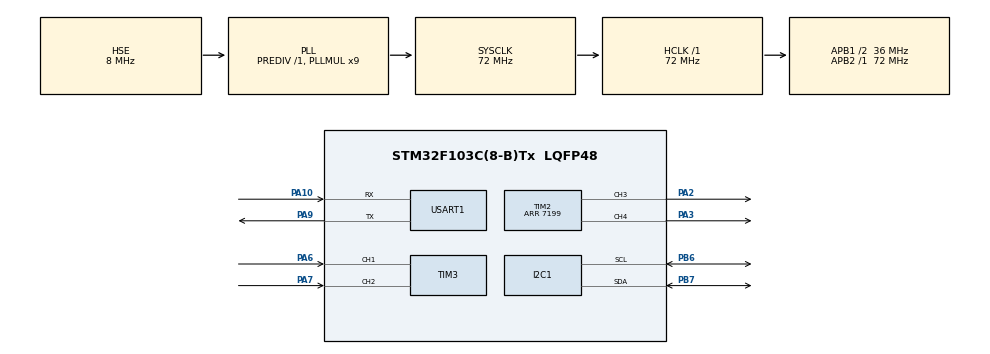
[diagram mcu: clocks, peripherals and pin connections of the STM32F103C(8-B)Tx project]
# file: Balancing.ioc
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Mcu.Family=STM32F1
Mcu.Name=STM32F103C(8-B)Tx
Mcu.Package=LQFP48
NVIC.PriorityGroup=NVIC_PRIORITYGROUP_4
PA10.Mode=Asynchronous
PA10.Signal=USART1_RX
PA13.Mode=Serial_Wire
PA13.Signal=SYS_JTMS-SWDIO
PA14.Mode=Serial_Wire
PA14.Signal=SYS_JTCK-SWCLK
PA2.Signal=S_TIM2_CH3
PA3.Signal=S_TIM2_CH4
PA6.Signal=S_TIM3_CH1
PA7.Signal=S_TIM3_CH2
PA9.Mode=Asynchronous
PA9.Signal=USART1_TX
PB6.Mode=I2C
PB6.Signal=I2C1_SCL
PB7.Mode=I2C
PB7.Signal=I2C1_SDA
PD0-OSC_IN.Mode=HSE-External-Oscillator
PD0-OSC_IN.Signal=RCC_OSC_IN
PD1-OSC_OUT.Mode=HSE-External-Oscillator
PD1-OSC_OUT.Signal=RCC_OSC_OUT
ProjectManager.HeapSize=0x200
ProjectManager.StackSize=0x400
ProjectManager.TargetToolchain=STM32CubeIDE
RCC.AHBFreq_Value=72000000
RCC.APB1CLKDivider=RCC_HCLK_DIV2
RCC.APB1Freq_Value=36000000
RCC.APB1TimFreq_Value=72000000
RCC.APB2Freq_Value=72000000
RCC.APB2TimFreq_Value=72000000
RCC.HCLKFreq_Value=72000000
RCC.PLLMUL=RCC_PLL_MUL9
RCC.PLLSourceVirtual=RCC_PLLSOURCE_HSE
RCC.SYSCLKFreq_VALUE=72000000
RCC.SYSCLKSource=RCC_SYSCLKSOURCE_PLLCLK
RCC.USBFreq_Value=72000000
SH.S_TIM2_CH3.0=TIM2_CH3,PWM Generation3 CH3
SH.S_TIM2_CH4.0=TIM2_CH4,PWM Generation4 CH4
SH.S_TIM3_CH1.0=TIM3_CH1,Encoder_Interface
SH.S_TIM3_CH2.0=TIM3_CH2,Encoder_Interface
TIM2.Channel-PWM\ Generation3\ CH3=TIM_CHANNEL_3
TIM2.Channel-PWM\ Generation4\ CH4=TIM_CHANNEL_4
TIM2.OCFastMode_PWM-PWM\ Generation3\ CH3=TIM_OCFAST_ENABLE
TIM2.OCFastMode_PWM-PWM\ Generation4\ CH4=TIM_OCFAST_ENABLE
TIM2.Period=7199
TIM2.Pulse-PWM\ Generation3\ CH3=6000
USART1.VirtualMode=VM_ASYNC
board=custom

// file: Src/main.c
/* USER CODE BEGIN Header */
/**
  ******************************************************************************
  * @file           : main.c
  * @brief          : Main program body
  ******************************************************************************
  * @attention
  *
  * <h2><center>&copy; Copyright (c) 2019 STMicroelectronics.
  * All rights reserved.</center></h2>
  *
  * This software component is licensed by ST under BSD 3-Clause license,
  * the "License"; You may not use this file except in compliance with the
  * License. You may obtain a copy of the License at:
  *                        opensource.org/licenses/BSD-3-Clause
  *
  ******************************************************************************
  */
/* USER CODE END Header */

#include "main.h"

I2C_HandleTypeDef hi2c1;

TIM_HandleTypeDef htim2;
TIM_HandleTypeDef htim3;

UART_HandleTypeDef huart1;

void SystemClock_Config(void);
static void MX_GPIO_Init(void);
static void MX_TIM2_Init(void);
static void MX_TIM3_Init(void);
static void MX_USART1_UART_Init(void);
static void MX_I2C1_Init(void);

/* USER CODE BEGIN 0 */

	int i = 0;
	void PWM_Control(float duty){
		int pwm = 0;
		if(duty > 0){
		  pwm = 4500 +(int) duty*2700;
		  HAL_GPIO_WritePin(GPIOB,GPIO_PIN_11,GPIO_PIN_SET);
		  HAL_GPIO_WritePin(GPIOB,GPIO_PIN_10,GPIO_PIN_RESET);

//		  HAL_GPIO_WritePin(GPIOB,GPIO_PIN_1,GPIO_PIN_SET);
//		  HAL_GPIO_WritePin(GPIOB,GPIO_PIN_0,GPIO_PIN_RESET);
		  __HAL_TIM_SET_COMPARE(&htim2, TIM_CHANNEL_3, pwm);
		}
		else{
			duty = -duty;
			pwm = 4500 +(int) duty*2700;
			HAL_GPIO_WritePin(GPIOB,GPIO_PIN_11,GPIO_PIN_RESET);
			HAL_GPIO_WritePin(GPIOB,GPIO_PIN_10,GPIO_PIN_SET);
		}
	}
/* USER CODE END 0 */

int main(void)
{

  /* MCU Configuration--------------------------------------------------------*/

  /* Reset of all peripherals, Initializes the Flash interface and the Systick. */
  HAL_Init();

  /* Configure the system clock */
  SystemClock_Config();

  /* Initialize all configured peripherals */
  MX_GPIO_Init();
  MX_TIM2_Init();
  MX_TIM3_Init();
  MX_USART1_UART_Init();
  MX_I2C1_Init();

  /* Infinite loop */
  /* USER CODE BEGIN WHILE */
  HAL_TIM_PWM_Start(&htim2,TIM_CHANNEL_3);
  HAL_TIM_PWM_Start(&htim2,TIM_CHANNEL_4);
  //HAL_TIM_Base_Start_IT(&htim1);
  //HAL_TIM_Encoder_Start(&htim3,TIM_CHANNEL_1);
  //HAL_TIM_Encoder_Start(&htim3,TIM_CHANNEL_2);
 init_MPU();
  while (1)
  {
    /* USER CODE END WHILE */

    /* USER CODE BEGIN 3 */

	  //process_MPU();
	  __HAL_TIM_SET_COMPARE(&htim2, TIM_CHANNEL_4, 6000);
	  HAL_Delay(1000);
	  //i = TIM3 -> CNT;
	  	   printf("encoder value: %d",i);
	  PWM_Control(-0.5);
	  HAL_Delay(1000);
	  PWM_Control(0.3);

	  HAL_Delay(1000);

//	  HAL_GPIO_WritePin(GPIOB,GPIO_PIN_1,GPIO_PIN_RESET);
//	  HAL_GPIO_WritePin(GPIOB,GPIO_PIN_0,GPIO_PIN_SET);
//	  HAL_Delay(1000);

//     for(duty = 0; duty<7200; duty++){
//	  __HAL_TIM_SET_COMPARE(&htim2, TIM_CHANNEL_3, duty);
//	  //HAL_Delay(10);
//     }
//     for(duty = 7200; duty>0; duty--){
//     	  __HAL_TIM_SET_COMPARE(&htim2, TIM_CHANNEL_3, duty);
//     	  //HAL_Delay(10);
//          }

//	  HAL_GPIO_WritePin(GPIOB,GPIO_PIN_1,GPIO_PIN_RESET);
//	  HAL_GPIO_WritePin(GPIOB,GPIO_PIN_0,GPIO_PIN_SET);
//	  HAL_Delay(5000);
  }
  /* USER CODE END 3 */
}

void SystemClock_Config(void)
{
  RCC_OscInitTypeDef RCC_OscInitStruct = {0};
  RCC_ClkInitTypeDef RCC_ClkInitStruct = {0};

  /** Initializes the CPU, AHB and APB busses clocks
  */
  RCC_OscInitStruct.OscillatorType = RCC_OSCILLATORTYPE_HSE;
  RCC_OscInitStruct.HSEState = RCC_HSE_ON;
  RCC_OscInitStruct.HSEPredivValue = RCC_HSE_PREDIV_DIV1;
  RCC_OscInitStruct.HSIState = RCC_HSI_ON;
  RCC_OscInitStruct.PLL.PLLState = RCC_PLL_ON;
  RCC_OscInitStruct.PLL.PLLSource = RCC_PLLSOURCE_HSE;
  RCC_OscInitStruct.PLL.PLLMUL = RCC_PLL_MUL9;
  if (HAL_RCC_OscConfig(&RCC_OscInitStruct) != HAL_OK)
  {
    Error_Handler();
  }
  /** Initializes the CPU, AHB and APB busses clocks
  */
  RCC_ClkInitStruct.ClockType = RCC_CLOCKTYPE_HCLK|RCC_CLOCKTYPE_SYSCLK
                              |RCC_CLOCKTYPE_PCLK1|RCC_CLOCKTYPE_PCLK2;
  RCC_ClkInitStruct.SYSCLKSource = RCC_SYSCLKSOURCE_PLLCLK;
  RCC_ClkInitStruct.AHBCLKDivider = RCC_SYSCLK_DIV1;
  RCC_ClkInitStruct.APB1CLKDivider = RCC_HCLK_DIV2;
  RCC_ClkInitStruct.APB2CLKDivider = RCC_HCLK_DIV1;

  if (HAL_RCC_ClockConfig(&RCC_ClkInitStruct, FLASH_LATENCY_2) != HAL_OK)
  {
    Error_Handler();
  }
}

static void MX_I2C1_Init(void)
{

  hi2c1.Instance = I2C1;
  hi2c1.Init.ClockSpeed = 100000;
  hi2c1.Init.DutyCycle = I2C_DUTYCYCLE_2;
  hi2c1.Init.OwnAddress1 = 0;
  hi2c1.Init.AddressingMode = I2C_ADDRESSINGMODE_7BIT;
  hi2c1.Init.DualAddressMode = I2C_DUALADDRESS_DISABLE;
  hi2c1.Init.OwnAddress2 = 0;
  hi2c1.Init.GeneralCallMode = I2C_GENERALCALL_DISABLE;
  hi2c1.Init.NoStretchMode = I2C_NOSTRETCH_DISABLE;
  if (HAL_I2C_Init(&hi2c1) != HAL_OK)
  {
    Error_Handler();
  }

}

static void MX_TIM2_Init(void)
{

  TIM_MasterConfigTypeDef sMasterConfig = {0};
  TIM_OC_InitTypeDef sConfigOC = {0};

  htim2.Instance = TIM2;
  htim2.Init.Prescaler = 0;
  htim2.Init.CounterMode = TIM_COUNTERMODE_UP;
  htim2.Init.Period = 7199;
  htim2.Init.ClockDivision = TIM_CLOCKDIVISION_DIV1;
  htim2.Init.AutoReloadPreload = TIM_AUTORELOAD_PRELOAD_DISABLE;
  if (HAL_TIM_PWM_Init(&htim2) != HAL_OK)
  {
    Error_Handler();
  }
  sMasterConfig.MasterOutputTrigger = TIM_TRGO_RESET;
  sMasterConfig.MasterSlaveMode = TIM_MASTERSLAVEMODE_DISABLE;
  if (HAL_TIMEx_MasterConfigSynchronization(&htim2, &sMasterConfig) != HAL_OK)
  {
    Error_Handler();
  }
  sConfigOC.OCMode = TIM_OCMODE_PWM1;
  sConfigOC.Pulse = 6000;
  sConfigOC.OCPolarity = TIM_OCPOLARITY_HIGH;
  sConfigOC.OCFastMode = TIM_OCFAST_ENABLE;
  if (HAL_TIM_PWM_ConfigChannel(&htim2, &sConfigOC, TIM_CHANNEL_3) != HAL_OK)
  {
    Error_Handler();
  }
  sConfigOC.Pulse = 5999;
  if (HAL_TIM_PWM_ConfigChannel(&htim2, &sConfigOC, TIM_CHANNEL_4) != HAL_OK)
  {
    Error_Handler();
  }
  HAL_TIM_MspPostInit(&htim2);

}

static void MX_TIM3_Init(void)
{

  TIM_Encoder_InitTypeDef sConfig = {0};
  TIM_MasterConfigTypeDef sMasterConfig = {0};

  htim3.Instance = TIM3;
  htim3.Init.Prescaler = 0;
  htim3.Init.CounterMode = TIM_COUNTERMODE_UP;
  htim3.Init.Period = 2000;
  htim3.Init.ClockDivision = TIM_CLOCKDIVISION_DIV1;
  htim3.Init.AutoReloadPreload = TIM_AUTORELOAD_PRELOAD_DISABLE;
  sConfig.EncoderMode = TIM_ENCODERMODE_TI1;
  sConfig.IC1Polarity = TIM_ICPOLARITY_RISING;
  sConfig.IC1Selection = TIM_ICSELECTION_DIRECTTI;
  sConfig.IC1Prescaler = TIM_ICPSC_DIV1;
  sConfig.IC1Filter = 0;
  sConfig.IC2Polarity = TIM_ICPOLARITY_RISING;
  sConfig.IC2Selection = TIM_ICSELECTION_DIRECTTI;
  sConfig.IC2Prescaler = TIM_ICPSC_DIV1;
  sConfig.IC2Filter = 0;
  if (HAL_TIM_Encoder_Init(&htim3, &sConfig) != HAL_OK)
  {
    Error_Handler();
  }
  sMasterConfig.MasterOutputTrigger = TIM_TRGO_RESET;
  sMasterConfig.MasterSlaveMode = TIM_MASTERSLAVEMODE_DISABLE;
  if (HAL_TIMEx_MasterConfigSynchronization(&htim3, &sMasterConfig) != HAL_OK)
  {
    Error_Handler();
  }

}

static void MX_USART1_UART_Init(void)
{

  huart1.Instance = USART1;
  huart1.Init.BaudRate = 115200;
  huart1.Init.WordLength = UART_WORDLENGTH_8B;
  huart1.Init.StopBits = UART_STOPBITS_1;
  huart1.Init.Parity = UART_PARITY_NONE;
  huart1.Init.Mode = UART_MODE_TX_RX;
  huart1.Init.HwFlowCtl = UART_HWCONTROL_NONE;
  huart1.Init.OverSampling = UART_OVERSAMPLING_16;
  if (HAL_UART_Init(&huart1) != HAL_OK)
  {
    Error_Handler();
  }

}

static void MX_GPIO_Init(void)
{

  /* GPIO Ports Clock Enable */
  __HAL_RCC_GPIOD_CLK_ENABLE();
  __HAL_RCC_GPIOA_CLK_ENABLE();
  __HAL_RCC_GPIOB_CLK_ENABLE();

}

void Error_Handler(void)
{
}

/************************ (C) COPYRIGHT STMicroelectronics *****END OF FILE****/
